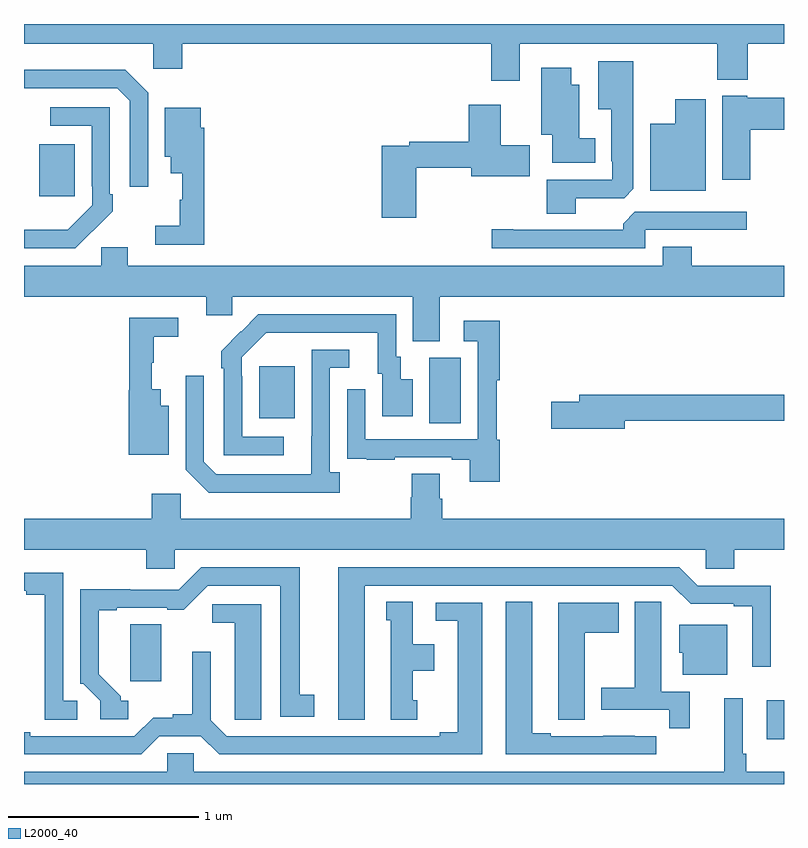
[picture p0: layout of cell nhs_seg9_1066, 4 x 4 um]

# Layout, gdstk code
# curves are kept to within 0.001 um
import gdstk
lib = gdstk.Library(unit=1e-6, precision=1e-09)
def R(c, l, rs):  # rectangles x0, y0, x1, y1
    for r in rs: c.add(gdstk.rectangle(r[:2], r[2:], *l))
def P(c, l, *ps):  # polygons
    for p in ps: c.add(gdstk.Polygon(p, *l))
L2000_40 = (2000, 40)

nhs_seg9_1066 = lib.new_cell('nhs_seg9_1066')
R(nhs_seg9_1066, L2000_40, [(172.91,1216.736,173,1216.942), (171.134,1218.4,171.298,1218.744), (170.237,1218.425,170.425,1218.7), (169.079,1219.593,169.267,1219.867)])
P(nhs_seg9_1066, L2000_40, [(171.61,1220.396),(172.648,1220.396),(172.648,1220.207),(172.808,1220.207),(172.808,1220.396),(173,1220.396),(173,1220.5),(169,1220.5),(169,1220.396),(169.68,1220.396),(169.68,1220.265),(169.832,1220.265),(169.832,1220.396),(171.458,1220.396),(171.458,1220.202),(171.61,1220.202)],
  [(171.904,1219.584),(172.158,1219.584),(172.207,1219.633),(172.207,1220.305),(172.022,1220.305),(172.022,1220.051),(172.091,1220.051),(172.091,1219.777),(172.095,1219.777),(172.095,1219.68),(171.752,1219.68),(171.752,1219.501),(171.904,1219.501)],
  [(172.006,1219.9),(171.922,1219.9),(171.922,1220.179),(171.88,1220.179),(171.88,1220.269),(171.722,1220.269),(171.722,1219.916),(171.779,1219.916),(171.779,1219.769),(172.006,1219.769)],
  [(169.653,1220.139),(169.532,1220.26),(169,1220.26),(169,1220.163),(169.491,1220.163),(169.557,1220.097),(169.557,1219.644),(169.653,1219.644)],
  [(172.823,1219.943),(173,1219.943),(173,1220.113),(172.806,1220.113),(172.806,1220.122),(172.676,1220.122),(172.676,1219.68),(172.823,1219.68)],
  [(172.588,1220.104),(172.427,1220.104),(172.427,1219.975),(172.295,1219.975),(172.295,1219.622),(172.588,1219.622)],
  [(171.065,1219.744),(171.353,1219.744),(171.353,1219.7),(171.661,1219.7),(171.661,1219.863),(171.508,1219.863),(171.508,1220.074),(171.341,1220.074),(171.341,1219.88),(171.028,1219.88),(171.028,1219.86),(170.882,1219.86),(170.882,1219.479),(171.065,1219.479)],
  [(169.361,1219.411),(169.362,1219.41),(169.467,1219.515),(169.467,1219.603),(169.452,1219.603),(169.452,1220.061),(169.137,1220.061),(169.137,1219.965),(169.356,1219.965),(169.356,1219.645),(169.359,1219.645),(169.359,1219.545),(169.231,1219.417),(169,1219.416),(169,1219.32),(169.27,1219.32)],
  [(169.949,1219.955),(169.93,1219.955),(169.93,1220.059),(169.742,1220.059),(169.742,1219.802),(169.772,1219.802),(169.772,1219.715),(169.832,1219.715),(169.832,1219.575),(169.821,1219.575),(169.821,1219.439),(169.692,1219.439),(169.692,1219.338),(169.949,1219.338)],
  [(172.269,1219.416),(172.804,1219.416),(172.804,1219.512),(172.215,1219.512),(172.154,1219.45),(172.154,1219.416),(171.574,1219.416),(171.574,1219.421),(171.462,1219.421),(171.462,1219.32),(172.269,1219.32)],
  [(171.187,1219.064),(173,1219.064),(173,1219.228),(172.514,1219.228),(172.514,1219.327),(172.361,1219.327),(172.361,1219.228),(169.546,1219.228),(169.546,1219.326),(169.407,1219.326),(169.407,1219.228),(169,1219.228),(169,1219.064),(169.958,1219.064),(169.958,1218.966),(170.097,1218.966),(170.097,1219.064),(171.047,1219.064),(171.047,1218.829),(171.187,1218.829)],
  [(170.368,1218.327),(170.148,1218.327),(170.148,1218.647),(170.145,1218.647),(170.145,1218.747),(170.274,1218.876),(170.861,1218.876),(170.861,1218.66),(170.885,1218.66),(170.885,1218.435),(171.046,1218.435),(171.046,1218.631),(170.983,1218.631),(170.983,1218.75),(170.958,1218.75),(170.958,1218.972),(170.234,1218.972),(170.037,1218.777),(170.037,1218.689),(170.052,1218.689),(170.052,1218.231),(170.368,1218.231)],
  [(169.762,1218.49),(169.72,1218.49),(169.72,1218.577),(169.673,1218.577),(169.673,1218.717),(169.684,1218.717),(169.684,1218.853),(169.813,1218.853),(169.813,1218.954),(169.555,1218.954),(169.555,1218.573),(169.55,1218.573),(169.55,1218.233),(169.762,1218.233)],
  [(171.503,1218.312),(171.488,1218.312),(171.488,1218.624),(171.503,1218.624),(171.503,1218.937),(171.315,1218.937),(171.315,1218.831),(171.387,1218.831),(171.387,1218.315),(170.796,1218.315),(170.796,1218.577),(170.7,1218.577),(170.7,1218.322),(170.701,1218.322),(170.701,1218.213),(170.803,1218.213),(170.803,1218.207),(170.951,1218.207),(170.951,1218.219),(171.251,1218.219),(171.251,1218.207),(171.347,1218.207),(171.347,1218.09),(171.503,1218.09)],
  [(170.662,1218.142),(170.61,1218.142),(170.61,1218.69),(170.713,1218.69),(170.713,1218.786),(170.514,1218.786),(170.513,1218.129),(170.013,1218.129),(169.947,1218.195),(169.947,1218.649),(169.851,1218.649),(169.851,1218.153),(169.972,1218.032),(170.662,1218.032)],
  [(172.162,1218.412),(173,1218.412),(173,1218.548),(171.923,1218.548),(171.923,1218.512),(171.774,1218.512),(171.774,1218.37),(172.162,1218.37)],
  [(172.587,1217.634),(172.739,1217.634),(172.739,1217.732),(173,1217.732),(173,1217.896),(171.2,1217.896),(171.2,1218.002),(171.187,1218.002),(171.187,1218.134),(171.04,1218.134),(171.04,1218.009),(171.035,1218.009),(171.035,1217.896),(169.824,1217.896),(169.824,1218.028),(169.673,1218.028),(169.673,1217.896),(169,1217.896),(169,1217.732),(169.643,1217.732),(169.643,1217.634),(169.794,1217.634),(169.794,1217.732),(172.587,1217.732)],
  [(170.794,1217.544),(172.413,1217.544),(172.509,1217.448),(172.736,1217.448),(172.736,1217.436),(172.832,1217.436),(172.832,1217.118),(172.929,1217.118),(172.929,1217.544),(172.545,1217.544),(172.449,1217.64),(170.654,1217.64),(170.654,1216.839),(170.794,1216.839)],
  [(169.549,1216.938),(169.51,1216.938),(169.51,1216.962),(169.393,1217.078),(169.393,1217.415),(169.489,1217.415),(169.489,1217.427),(169.754,1217.427),(169.754,1217.416),(169.84,1217.416),(169.968,1217.544),(170.348,1217.544),(170.348,1216.854),(170.527,1216.854),(170.527,1216.97),(170.452,1216.97),(170.452,1217.64),(169.932,1217.64),(169.815,1217.523),(169.559,1217.523),(169.559,1217.525),(169.296,1217.525),(169.296,1217.028),(169.311,1217.028),(169.401,1216.938),(169.401,1216.842),(169.549,1216.842)],
  [(169.279,1216.938),(169.206,1216.938),(169.206,1217.613),(169,1217.613),(169,1217.517),(169.013,1217.517),(169.013,1217.497),(169.109,1217.497),(169.109,1216.837),(169.279,1216.837)],
  [(171.07,1216.941),(171.046,1216.941),(171.046,1217.096),(171.16,1217.096),(171.16,1217.236),(171.046,1217.236),(171.046,1217.459),(170.906,1217.459),(170.906,1217.361),(170.93,1217.361),(170.93,1216.839),(171.07,1216.839)],
  [(172.327,1216.752),(172.214,1216.752),(172.214,1216.753),(172.048,1216.753),(172.048,1216.752),(171.772,1216.752),(171.772,1216.767),(171.676,1216.767),(171.676,1217.459),(171.536,1217.459),(171.536,1216.656),(172.327,1216.656)],
  [(172.505,1216.986),(172.354,1216.986),(172.354,1217.348),(172.353,1217.348),(172.353,1217.459),(172.214,1217.459),(172.214,1217.007),(172.037,1217.007),(172.037,1216.89),(172.396,1216.89),(172.396,1216.794),(172.505,1216.794)],
  [(171.952,1217.296),(172.129,1217.296),(172.129,1217.455),(171.812,1217.455),(171.812,1216.945),(171.813,1216.945),(171.813,1216.837),(171.952,1216.837)],
  [(169.713,1216.752),(169.931,1216.752),(170.027,1216.656),(171.412,1216.656),(171.412,1217.454),(171.168,1217.454),(171.168,1217.358),(171.284,1217.358),(171.284,1216.772),(171.188,1216.772),(171.188,1216.752),(170.067,1216.752),(169.983,1216.836),(169.983,1217.197),(169.886,1217.197),(169.886,1216.868),(169.782,1216.868),(169.782,1216.85),(169.679,1216.85),(169.581,1216.752),(169.033,1216.752),(169.033,1216.772),(169,1216.772),(169,1216.656),(169.617,1216.656)],
  [(170.248,1217.445),(169.992,1217.445),(169.992,1217.348),(170.108,1217.348),(170.108,1216.945),(170.109,1216.945),(170.109,1216.837),(170.248,1216.837)],
  [(169.723,1217.184),(169.722,1217.184),(169.722,1217.342),(169.559,1217.342),(169.559,1217.04),(169.723,1217.04)],
  [(172.702,1217.338),(172.448,1217.338),(172.448,1217.19),(172.466,1217.19),(172.466,1217.075),(172.702,1217.075)],
  [(173,1216.564),(172.802,1216.564),(172.802,1216.66),(172.782,1216.66),(172.782,1216.951),(172.685,1216.951),(172.685,1216.564),(169.893,1216.564),(169.893,1216.662),(169.755,1216.662),(169.755,1216.564),(169,1216.564),(169,1216.5),(173,1216.5)])

lib.write_gds('nhs_seg9_1066.gds')
